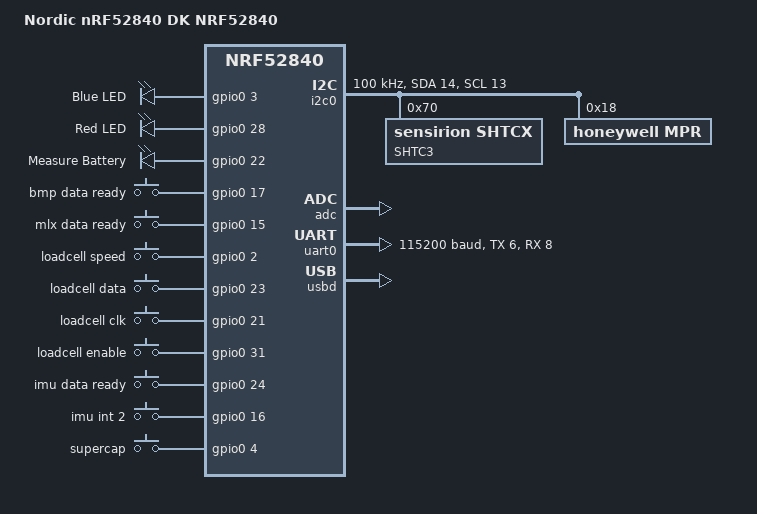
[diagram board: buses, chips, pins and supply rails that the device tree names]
/*
 * Copyright (c) 2017 Linaro Limited
 *
 * SPDX-License-Identifier: Apache-2.0
 */

 /dts-v1/;
 #include <nordic/nrf52840_qiaa.dtsi>
 
 / {
	 model = "Nordic nRF52840 DK NRF52840";
	 compatible = "nordic,nrf52840-dk-nrf52840";

	 aliases {
		i2c = &i2c0;
		blue-led = &led0;
		red-led = &led1;
		measure-battery = &led2;
		shtc-3 = &shtc3_node;
		mpr-ls = &mprls_node;
	 };
 
	 chosen {
		 zephyr,console = &uart0;
		 zephyr,shell-uart = &uart0;
		 zephyr,uart-mcumgr = &uart0;
		 zephyr,bt-mon-uart = &uart0;
		 zephyr,bt-c2h-uart = &uart0;
		 zephyr,sram = &sram0;
		 zephyr,flash = &flash0;
		 zephyr,code-partition = &slot0_partition;
	 };
 
	 leds {
		 compatible = "gpio-leds";
		 led0: led_0 {
			 gpios = <&gpio0 3 GPIO_ACTIVE_HIGH>;
			 label = "Blue LED";
		 };
		 led1: led_1 {
			 gpios = <&gpio0 28 GPIO_ACTIVE_HIGH>;
			 label = "Red LED";
		 };
		 led2: led_2 {
			gpios = <&gpio0 22 GPIO_ACTIVE_HIGH>;
			label = "Measure Battery";
		};		 
	 };
 
 
	 buttons {
		 compatible = "gpio-keys";
//		 button0: button_0 {	//20 1wire 
//			 gpios = <&gpio0 20 (GPIO_ACTIVE_HIGH)>;
//			 label = "1wire";
//		 };
		 button1: button_1 { // 17 bmp
			 gpios = <&gpio0 17 (GPIO_ACTIVE_HIGH)>;
			 label = "bmp data ready";
		 };
		 button2: button_2 {
			 gpios = <&gpio0 15 (GPIO_ACTIVE_HIGH)>;
			 label = "mlx data ready";
		 };
		 button3: button_3 {
			 gpios = <&gpio0 2 (GPIO_ACTIVE_HIGH)>;
			 label = "loadcell speed";
		 };
		 button4: button_4 {
			 gpios = <&gpio0 23 (GPIO_ACTIVE_HIGH)>;
			 label = "loadcell data";
		 };
		 button5: button_5 {
			 gpios = <&gpio0 21 (GPIO_ACTIVE_HIGH)>;
			 label = "loadcell clk";
		 };
		 button6: button_6 {
			 gpios = <&gpio0 31 (GPIO_ACTIVE_HIGH)>;
			 label = "loadcell enable";
		 };
		 button7: button_7 {
			 gpios = <&gpio0 24 (GPIO_ACTIVE_HIGH)>;
			 label = "imu data ready";
		 };
		 button8: button_8 {
			 gpios = <&gpio0 16 (GPIO_ACTIVE_HIGH)>;
			 label = "imu int 2";
		 };
		 button9: button_9 {
			 gpios = <&gpio0 4 (GPIO_ACTIVE_HIGH)>;
			 label = "supercap";
		 };	 				
	 };
 };

 i2c_0: &i2c0 {
    compatible = "nordic,nrf-twim";
    status = "okay";
    sda-pin = < 14 >;
    scl-pin = < 13 >;
    label = "i2c";
    clock-frequency = <I2C_BITRATE_STANDARD>; 

	shtc3_node: shtcx@70 {
		compatible = "sensirion,shtcx";
		chip = "shtc3";
		measure-mode = "low-power";
		reg = <0x70>;
		label = "SHTC3";
	};

	mprls_node: mpr@18 {
		compatible = "honeywell,mpr";
		reg = <0x18>;
		label = "MPR";
	};
};
 
 &adc {
	 status = "okay";
 };
 
 &gpiote {
	 status = "okay";
 };
 
 &gpio0 {
	 status = "okay";
 };
 
 &gpio1 {
	 status = "okay";
 };
 
 &uart0 {
	 compatible = "nordic,nrf-uarte";
	 status = "okay";
	 current-speed = <115200>;
	 tx-pin = <6>;
	 rx-pin = <8>;
	 rts-pin = <5>;
	 cts-pin = <7>;
 };
 
 &flash0 {
 
	 partitions {
		 compatible = "fixed-partitions";
		 #address-cells = <1>;
		 #size-cells = <1>;
 
		 boot_partition: partition@0 {
			 label = "mcuboot";
			 reg = <0x000000000 0xc000>;
		 };
		 slot0_partition: partition@c000 {
			 label = "image-0";
			 reg = <0x0000C000 0x32000>;
		 };
		 slot1_partition: partition@3e000 {
			 label = "image-1";
			 reg = <0x0003E000 0x32000>;
		 };
		 scratch_partition: partition@da000 {
			 label = "image-scratch";
			 reg = <0x000da000 0x0001e000>;
		 };
 
		 /*
		  * The flash starting at 0x000f8000 and ending at
		  * 0x000fffff is reserved for use by the application.
		  */
 
		 /*
		  * Storage partition will be used by FCB/LittleFS/NVS
		  * if enabled.
		  */
		 storage_partition: partition@f8000 {
			 label = "storage";
			 reg = <0x000f8000 0x00008000>;
		 };
	 };
 };
 
 &usbd {
	 compatible = "nordic,nrf-usbd";
	 status = "okay";
 };
 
